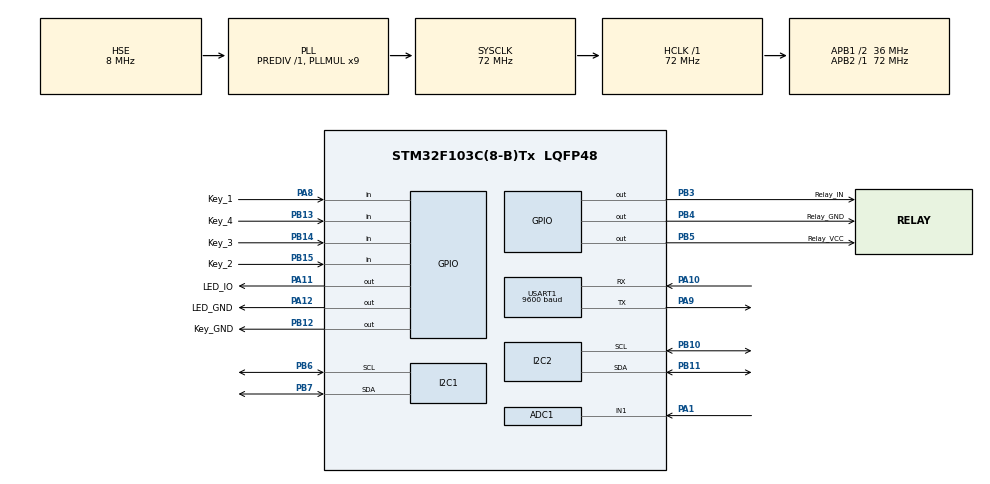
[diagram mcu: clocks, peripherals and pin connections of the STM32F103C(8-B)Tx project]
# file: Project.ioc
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ADC1.Channel-1\#ChannelRegularConversion=ADC_CHANNEL_1
ADC1.ContinuousConvMode=DISABLE
ADC1.NbrOfConversionFlag=1
ADC1.Rank-1\#ChannelRegularConversion=1
ADC1.SamplingTime-1\#ChannelRegularConversion=ADC_SAMPLETIME_71CYCLES_5
ADC1.master=1
Mcu.Family=STM32F1
Mcu.Name=STM32F103C(8-B)Tx
Mcu.Package=LQFP48
NVIC.PriorityGroup=NVIC_PRIORITYGROUP_4
NVIC.TIM2_IRQn=true\:0\:0\:false\:false\:true\:true\:true\:true
PA1.Signal=ADCx_IN1
PA10.Mode=Asynchronous
PA10.Signal=USART1_RX
PA11.GPIO_Label=LED_IO
PA11.GPIO_PuPd=GPIO_PULLDOWN
PA11.GPIO_Speed=GPIO_SPEED_FREQ_HIGH
PA11.Signal=GPIO_Output
PA12.GPIO_Label=LED_GND
PA12.GPIO_PuPd=GPIO_PULLDOWN
PA12.GPIO_Speed=GPIO_SPEED_FREQ_HIGH
PA12.Signal=GPIO_Output
PA13.Mode=Serial_Wire
PA13.Signal=SYS_JTMS-SWDIO
PA14.Mode=Serial_Wire
PA14.Signal=SYS_JTCK-SWCLK
PA8.GPIO_Label=Key_1
PA8.GPIO_PuPd=GPIO_PULLUP
PA8.Signal=GPIO_Input
PA9.Mode=Asynchronous
PA9.Signal=USART1_TX
PB10.Mode=I2C
PB10.Signal=I2C2_SCL
PB11.Mode=I2C
PB11.Signal=I2C2_SDA
PB12.GPIO_Label=Key_GND
PB12.GPIO_PuPd=GPIO_PULLDOWN
PB12.GPIO_Speed=GPIO_SPEED_FREQ_HIGH
PB12.Signal=GPIO_Output
PB13.GPIO_Label=Key_4
PB13.GPIO_PuPd=GPIO_PULLUP
PB13.Signal=GPIO_Input
PB14.GPIO_Label=Key_3
PB14.GPIO_PuPd=GPIO_PULLUP
PB14.Signal=GPIO_Input
PB15.GPIO_Label=Key_2
PB15.GPIO_PuPd=GPIO_PULLUP
PB15.Signal=GPIO_Input
PB3.GPIO_Label=Relay_IN
PB3.GPIO_PuPd=GPIO_PULLUP
PB3.GPIO_Speed=GPIO_SPEED_FREQ_HIGH
PB3.PinState=GPIO_PIN_SET
PB3.Signal=GPIO_Output
PB4.GPIO_Label=Relay_GND
PB4.GPIO_PuPd=GPIO_PULLDOWN
PB4.GPIO_Speed=GPIO_SPEED_FREQ_HIGH
PB4.Signal=GPIO_Output
PB5.GPIO_Label=Relay_VCC
PB5.GPIO_PuPd=GPIO_PULLUP
PB5.GPIO_Speed=GPIO_SPEED_FREQ_HIGH
PB5.PinState=GPIO_PIN_SET
PB5.Signal=GPIO_Output
PB6.Mode=I2C
PB6.Signal=I2C1_SCL
PB7.Mode=I2C
PB7.Signal=I2C1_SDA
PC14-OSC32_IN.Mode=LSE-External-Oscillator
PC14-OSC32_IN.Signal=RCC_OSC32_IN
PC15-OSC32_OUT.Mode=LSE-External-Oscillator
PC15-OSC32_OUT.Signal=RCC_OSC32_OUT
PD0-OSC_IN.Mode=HSE-External-Oscillator
PD0-OSC_IN.Signal=RCC_OSC_IN
PD1-OSC_OUT.Mode=HSE-External-Oscillator
PD1-OSC_OUT.Signal=RCC_OSC_OUT
ProjectManager.HeapSize=0x200
ProjectManager.StackSize=0x400
ProjectManager.TargetToolchain=MDK-ARM V5.32
RCC.ADCPresc=RCC_ADCPCLK2_DIV6
RCC.AHBFreq_Value=72000000
RCC.APB1CLKDivider=RCC_HCLK_DIV2
RCC.APB1Freq_Value=36000000
RCC.APB1TimFreq_Value=72000000
RCC.APB2Freq_Value=72000000
RCC.APB2TimFreq_Value=72000000
RCC.HCLKFreq_Value=72000000
RCC.PLLMUL=RCC_PLL_MUL9
RCC.PLLSourceVirtual=RCC_PLLSOURCE_HSE
RCC.SYSCLKFreq_VALUE=72000000
RCC.SYSCLKSource=RCC_SYSCLKSOURCE_PLLCLK
RCC.USBFreq_Value=72000000
RTC.Date=7
RTC.Hours=8
RTC.Month=RTC_MONTH_MAY
RTC.WeekDay=RTC_WEEKDAY_SUNDAY
RTC.Year=23
SH.ADCx_IN1.0=ADC1_IN1,IN1
TIM1.Period=999
TIM1.Prescaler=71
TIM2.Period=999
TIM2.Prescaler=71
USART1.BaudRate=9600
USART1.VirtualMode=VM_ASYNC
VP_RTC_No_RTC_Output.Mode=RTC_OUT_NO
VP_RTC_VS_RTC_Activate.Mode=RTC_Enabled
VP_RTC_VS_RTC_Calendar.Mode=RTC_Calendar
VP_TIM1_VS_ClockSourceINT.Mode=Internal
VP_TIM2_VS_ClockSourceINT.Mode=Internal
board=custom

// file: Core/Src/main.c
/* USER CODE BEGIN Header */
/**
 ******************************************************************************
 * @file           : main.c
 * @brief          : Main program body
 ******************************************************************************
 * @attention
 *
 * Copyright (c) 2023 STMicroelectronics.
 * All rights reserved.
 *
 * This software is licensed under terms that can be found in the LICENSE file
 * in the root directory of this software component.
 * If no LICENSE file comes with this software, it is provided AS-IS.
 *
 ******************************************************************************
 */
/* USER CODE END Header */
#include "main.h"
#include "adc.h"
#include "i2c.h"
#include "rtc.h"
#include "tim.h"
#include "usart.h"
#include "gpio.h"

/* USER CODE BEGIN Includes */
#include "oled.h"
#include "mlx90614.h"
/* USER CODE END Includes */

/* USER CODE BEGIN PD */
#define Pushdown_Key_1 HAL_GPIO_ReadPin(Key_1_GPIO_Port, Key_1_Pin) == GPIO_PIN_RESET
#define Pushdown_Key_2 HAL_GPIO_ReadPin(Key_2_GPIO_Port, Key_2_Pin) == GPIO_PIN_RESET
#define Pushdown_Key_3 HAL_GPIO_ReadPin(Key_3_GPIO_Port, Key_3_Pin) == GPIO_PIN_RESET
#define Pushdown_Key_4 HAL_GPIO_ReadPin(Key_4_GPIO_Port, Key_4_Pin) == GPIO_PIN_RESET
#define NotPushdown_Key_1 HAL_GPIO_ReadPin(Key_1_GPIO_Port, Key_1_Pin) == GPIO_PIN_SET
#define NotPushdown_Key_2 HAL_GPIO_ReadPin(Key_2_GPIO_Port, Key_2_Pin) == GPIO_PIN_SET
#define NotPushdown_Key_3 HAL_GPIO_ReadPin(Key_3_GPIO_Port, Key_3_Pin) == GPIO_PIN_SET
#define NotPushdown_Key_4 HAL_GPIO_ReadPin(Key_4_GPIO_Port, Key_4_Pin) == GPIO_PIN_SET
/* USER CODE END PD */

/* USER CODE BEGIN PV */
uint16_t noInputDelayTimeCounter = 0;
uint16_t lowVoltageDelayTimeCounter = 0;
/* USER CODE END PV */

void SystemClock_Config(void);

int main(void)
{
  /* USER CODE BEGIN 1 */
  uint8_t x = 0;
  uint8_t y = 0;
  float temperatureValue = 0;
  uint8_t temperatureIntegerValue = 0;
  uint8_t temperatureDecimalValue = 0;
  uint16_t adcValue = 0;
  float voltageValue = 0;
  uint8_t voltageIntegerValue = 0;
  uint8_t voltageDecimalValue_Unit = 0;
  uint8_t voltageDecimalValue_Ten = 0;
  RTC_DateTypeDef sdatestructure;
  RTC_TimeTypeDef stimestructure;
  uint8_t yearValue = 0;
  uint8_t monthValue = 0;
  uint8_t dateValue = 0;
  uint8_t hourValue = 0;
  uint8_t minuteValue = 0;
  uint8_t secondValue = 0;
  uint8_t i = 0;
	uint8_t j = 0;
	float standardVoltage = 3.58;
	uint8_t standardTemperature = 30;
	uint8_t powerONTime_HourValue = 8;
	uint8_t powerONTime_MinuteValue = 0;
	uint8_t powerOFFTime_HourValue = 18;
	uint8_t powerOFFTime_MinuteValue = 0;
  /* USER CODE END 1 */

  /* MCU Configuration--------------------------------------------------------*/

  /* Reset of all peripherals, Initializes the Flash interface and the Systick. */
  HAL_Init();

  /* Configure the system clock */
  SystemClock_Config();

  /* Initialize all configured peripherals */
  MX_GPIO_Init();
  MX_USART1_UART_Init();
  MX_ADC1_Init();
  MX_I2C1_Init();
  MX_TIM1_Init();
  MX_I2C2_Init();
  MX_RTC_Init();
  MX_TIM2_Init();
  /* USER CODE BEGIN 2 */
  OLED_Init();
  OLED_Clear();
	HAL_TIM_Base_Start_IT(&htim2);
  /* USER CODE END 2 */

  /* Infinite loop */
  /* USER CODE BEGIN WHILE */
  while (1)
  {
    yearValue = sdatestructure.Year + 2000;
    monthValue = sdatestructure.Month;
    dateValue = sdatestructure.Date;
    hourValue = stimestructure.Hours;
    minuteValue = stimestructure.Minutes;
    secondValue = stimestructure.Seconds;

    if (Pushdown_Key_1)
    {
      HAL_Delay(50);
      i += 1;
    }

		switch(i%2)
		{
			case 0:
				printf("Power: OFF!\n");
				j = 0;
			break;
			case 1:
				printf("Power: ON!\n");
				j = 1;
			break;
			default:
				j = 1;
			break;
		}

		if (hourValue == powerOFFTime_HourValue)
		{
			if (minuteValue == powerOFFTime_MinuteValue)
			{
				j = 0;
			}
		}

		switch(j)
		{
			case 0:
				OLED_Clear();
			break;
			case 1:
				OLED_ShowChinese(x + 32 + 16 * 0, y + 2 * 0, 0);
				OLED_ShowChinese(x + 32 + 16 * 1, y + 2 * 0, 1);
				OLED_ShowChinese(x + 32 + 16 * 2, y + 2 * 0, 2);
				OLED_ShowChinese(x + 32 + 16 * 3, y + 2 * 0, 3);
				OLED_ShowChinese(x + 32 + 16 * 0, y + 2 * 1, 4);
				OLED_ShowChinese(x + 32 + 16 * 1, y + 2 * 1, 5);
				OLED_ShowChinese(x + 32 + 16 * 2, y + 2 * 1, 6);
				OLED_ShowChinese(x + 32 + 16 * 3, y + 2 * 1, 7);
				OLED_ShowChinese(x + 16 * 0, y + 2 * 2, 8);
				OLED_ShowChinese(x + 16 * 1, y + 2 * 2, 9);
				OLED_ShowChinese(x + 16 * 2, y + 2 * 2, 10);
				OLED_ShowChinese(x + 16 * 3, y + 2 * 2, 11);
				OLED_ShowChar(x + 16 * 4 + 8 * 0, y + 2 * 2, ':', 16);
				OLED_ShowChinese(x + 16 * 0, y + 2 * 3, 8);
				OLED_ShowChinese(x + 16 * 1, y + 2 * 3, 9);
				OLED_ShowChinese(x + 16 * 2, y + 2 * 3, 12);
				OLED_ShowChinese(x + 16 * 3, y + 2 * 3, 13);
				OLED_ShowChar(x + 16 * 4 + 8 * 0, y + 2 * 3, ':', 16);

				HAL_ADC_Start(&hadc1);
				HAL_ADC_PollForConversion(&hadc1, 100);
				adcValue = HAL_ADC_GetValue(&hadc1);
				voltageValue = (float)adcValue / 4096 * 3.3;
				voltageIntegerValue = (int)voltageValue;
				voltageDecimalValue_Unit = (int)((voltageValue - voltageIntegerValue) * 10);
				voltageDecimalValue_Ten = (int)(((voltageValue - voltageIntegerValue) * 10 - voltageDecimalValue_Unit) * 10);
				OLED_ShowNum(x + 16 * 4 + 8 * 1, y + 2 * 2, voltageIntegerValue, 2, 16);
				OLED_ShowChar(x + 16 * 4 + 8 * 3, y + 2 * 2, '.', 16);
				OLED_ShowNum(x + 16 * 4 + 8 * 4, y + 2 * 2, voltageDecimalValue_Unit, 1, 16);
				OLED_ShowNum(x + 16 * 4 + 8 * 5, y + 2 * 2, voltageDecimalValue_Ten, 1, 16);
				OLED_ShowChar(x + 16 * 4 + 8 * 6, y + 2 * 2, 'V', 16);

				temperatureValue = MLX90614_GetTemperature();
				temperatureIntegerValue = (int)temperatureValue;
				temperatureDecimalValue = 10 * (temperatureValue - (int)temperatureValue);
				OLED_ShowNum(x + 16 * 4 + 8 * 1, y + 2 * 3, temperatureIntegerValue, 2, 16);
				OLED_ShowChar(x + 16 * 4 + 8 * 3, y + 2 * 3, '.', 16);
				OLED_ShowNum(x + 16 * 4 + 8 * 4, y + 2 * 3, temperatureDecimalValue, 1, 16);
				OLED_ShowChar(x + 16 * 4 + 8 * 5, y + 2 * 3, 'C', 16);

				if (Pushdown_Key_2)
				{
					HAL_Delay(50);
					if (Pushdown_Key_3)
					{
						HAL_Delay(50);
						powerOFFTime_HourValue += 1;
					}
					else if (Pushdown_Key_4)
					{
						HAL_Delay(50);
						powerOFFTime_HourValue -= 1;
					}
				}

				if (NotPushdown_Key_1 && NotPushdown_Key_2 && NotPushdown_Key_3 && NotPushdown_Key_4)
				{
					HAL_TIM_PeriodElapsedCallback(&htim1);
				}

				if (voltageValue < standardVoltage)
				{
					HAL_TIM_PeriodElapsedCallback(&htim2);
					HAL_GPIO_WritePin(Relay_IN_GPIO_Port, Relay_IN_Pin, GPIO_PIN_SET);
				}

				if (temperatureValue > standardTemperature)
				{
					HAL_GPIO_WritePin(LED_IO_GPIO_Port, LED_IO_Pin, GPIO_PIN_SET);
					HAL_Delay(250);
					HAL_GPIO_TogglePin(LED_IO_GPIO_Port, LED_IO_Pin);
				}
			break;
			default:
				;
			break;
		}

		HAL_Delay(1000);
    /* USER CODE END WHILE */

  }
}

void SystemClock_Config(void)
{
  RCC_OscInitTypeDef RCC_OscInitStruct = {0};
  RCC_ClkInitTypeDef RCC_ClkInitStruct = {0};
  RCC_PeriphCLKInitTypeDef PeriphClkInit = {0};

  /** Initializes the RCC Oscillators according to the specified parameters
  * in the RCC_OscInitTypeDef structure.
  */
  RCC_OscInitStruct.OscillatorType = RCC_OSCILLATORTYPE_LSI|RCC_OSCILLATORTYPE_HSE;
  RCC_OscInitStruct.HSEState = RCC_HSE_ON;
  RCC_OscInitStruct.HSEPredivValue = RCC_HSE_PREDIV_DIV1;
  RCC_OscInitStruct.HSIState = RCC_HSI_ON;
  RCC_OscInitStruct.LSIState = RCC_LSI_ON;
  RCC_OscInitStruct.PLL.PLLState = RCC_PLL_ON;
  RCC_OscInitStruct.PLL.PLLSource = RCC_PLLSOURCE_HSE;
  RCC_OscInitStruct.PLL.PLLMUL = RCC_PLL_MUL9;
  if (HAL_RCC_OscConfig(&RCC_OscInitStruct) != HAL_OK)
  {
    Error_Handler();
  }

  /** Initializes the CPU, AHB and APB buses clocks
  */
  RCC_ClkInitStruct.ClockType = RCC_CLOCKTYPE_HCLK|RCC_CLOCKTYPE_SYSCLK
                              |RCC_CLOCKTYPE_PCLK1|RCC_CLOCKTYPE_PCLK2;
  RCC_ClkInitStruct.SYSCLKSource = RCC_SYSCLKSOURCE_PLLCLK;
  RCC_ClkInitStruct.AHBCLKDivider = RCC_SYSCLK_DIV1;
  RCC_ClkInitStruct.APB1CLKDivider = RCC_HCLK_DIV2;
  RCC_ClkInitStruct.APB2CLKDivider = RCC_HCLK_DIV1;

  if (HAL_RCC_ClockConfig(&RCC_ClkInitStruct, FLASH_LATENCY_2) != HAL_OK)
  {
    Error_Handler();
  }
  PeriphClkInit.PeriphClockSelection = RCC_PERIPHCLK_RTC|RCC_PERIPHCLK_ADC;
  PeriphClkInit.RTCClockSelection = RCC_RTCCLKSOURCE_LSI;
  PeriphClkInit.AdcClockSelection = RCC_ADCPCLK2_DIV6;
  if (HAL_RCCEx_PeriphCLKConfig(&PeriphClkInit) != HAL_OK)
  {
    Error_Handler();
  }
}

/* USER CODE BEGIN 4 */
void HAL_TIM_PeriodElapsedCallback(TIM_HandleTypeDef *htim)
{
	if (htim->Instance == htim1.Instance)
	{
		noInputDelayTimeCounter++;
		if (noInputDelayTimeCounter == 5000)
		{
			OLED_Clear();
		}
	}
	if (htim->Instance == htim2.Instance)
	{
		lowVoltageDelayTimeCounter++;
		if (lowVoltageDelayTimeCounter == 4 * 5000)
		{
			OLED_Clear();
		}
	}
}
/* USER CODE END 4 */

void Error_Handler(void)
{
  __disable_irq();
  while (1)
  {
  }
}
